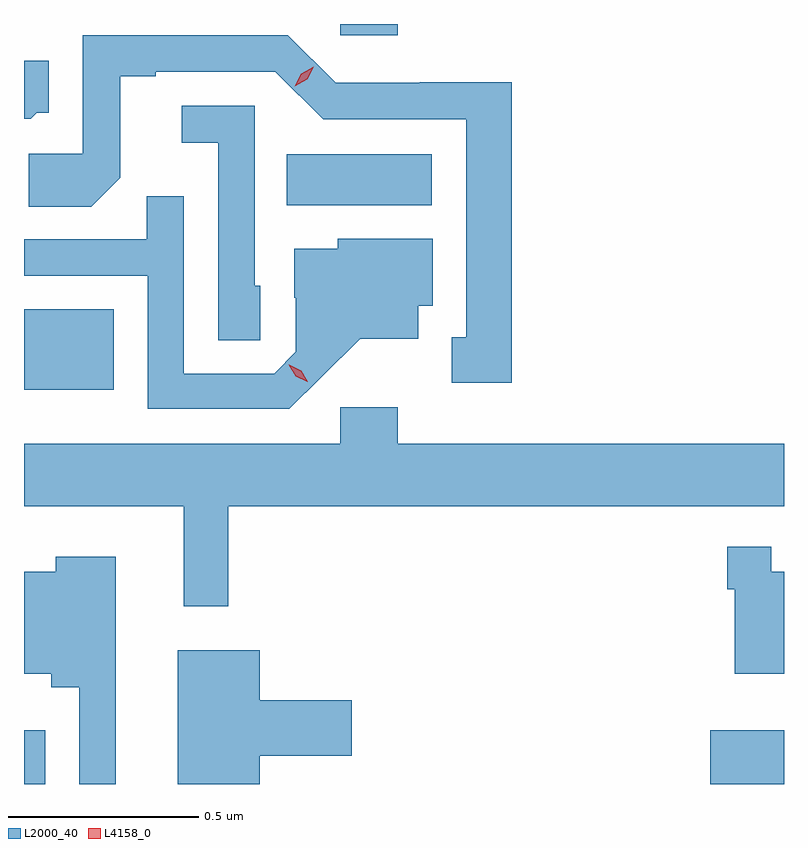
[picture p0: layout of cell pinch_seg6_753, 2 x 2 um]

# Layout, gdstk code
import gdstk
lib = gdstk.Library(unit=1e-6, precision=1e-09)
def R(c, l, rs):  # rectangles x0, y0, x1, y1
    for r in rs: c.add(gdstk.rectangle(r[:2], r[2:], *l))
def P(c, l, *ps):  # polygons
    for p in ps: c.add(gdstk.Polygon(p, *l))
L2000_40 = (2000, 40)
L4158_0 = (4158, 0)

pinch_seg6_753 = lib.new_cell('pinch_seg6_753')
R(pinch_seg6_753, L2000_40, [(598.658,950.601,598.714,950.743), (600.464,950.601,600.658,950.743), (598.658,951.638,598.894,951.85), (599.35,952.124,599.731,952.258), (599.49,952.571,599.642,952.601)])
P(pinch_seg6_753, L2000_40, [(599.941,952.448),(599.7,952.448),(599.7,952.446),(599.478,952.446),(599.352,952.572),(598.812,952.572),(598.812,952.26),(598.671,952.26),(598.671,952.12),(598.835,952.12),(598.911,952.196),(598.911,952.464),(599.005,952.464),(599.005,952.476),(599.319,952.476),(599.445,952.35),(599.822,952.35),(599.822,951.777),(599.783,951.777),(599.783,951.657),(599.941,951.657)],
  [(598.692,952.368),(598.723,952.368),(598.723,952.504),(598.658,952.504),(598.658,952.352),(598.676,952.352)],
  [(599.28,951.912),(599.265,951.912),(599.265,952.386),(599.073,952.386),(599.073,952.289),(599.169,952.289),(599.169,951.769),(599.28,951.769)],
  [(599.44,951.671),(599.543,951.773),(599.695,951.773),(599.695,951.86),(599.734,951.86),(599.734,952.036),(599.484,952.036),(599.484,952.009),(599.369,952.009),(599.369,951.88),(599.373,951.88),(599.373,951.738),(599.316,951.681),(599.079,951.681),(599.079,952.148),(598.981,952.148),(598.981,952.035),(598.658,952.035),(598.658,951.939),(598.983,951.939),(598.983,951.588),(599.356,951.588)],
  [(599.195,951.332),(600.658,951.332),(600.658,951.496),(599.642,951.496),(599.642,951.592),(599.49,951.592),(599.49,951.496),(598.658,951.496),(598.658,951.332),(599.078,951.332),(599.078,951.069),(599.195,951.069)],
  [(600.658,951.16),(600.624,951.16),(600.624,951.226),(600.508,951.226),(600.508,951.113),(600.528,951.113),(600.528,950.891),(600.658,950.891)],
  [(598.9,951.199),(598.742,951.199),(598.742,951.16),(598.658,951.16),(598.658,950.891),(598.73,950.891),(598.73,950.855),(598.803,950.855),(598.803,950.601),(598.9,950.601)],
  [(599.278,950.675),(599.521,950.675),(599.521,950.822),(599.278,950.822),(599.278,950.953),(599.063,950.953),(599.063,950.601),(599.278,950.601)])
P(pinch_seg6_753, L4158_0, [(599.404,951.659),(599.373,951.674),(599.355,951.704),(599.355,951.704),(599.356,951.704),(599.387,951.689),(599.405,951.66),(599.405,951.659)],
  [(599.371,952.437),(599.371,952.437),(599.388,952.47),(599.42,952.489),(599.42,952.489),(599.42,952.489),(599.403,952.456),(599.371,952.437)])

lib.write_gds('pinch_seg6_753.gds')
